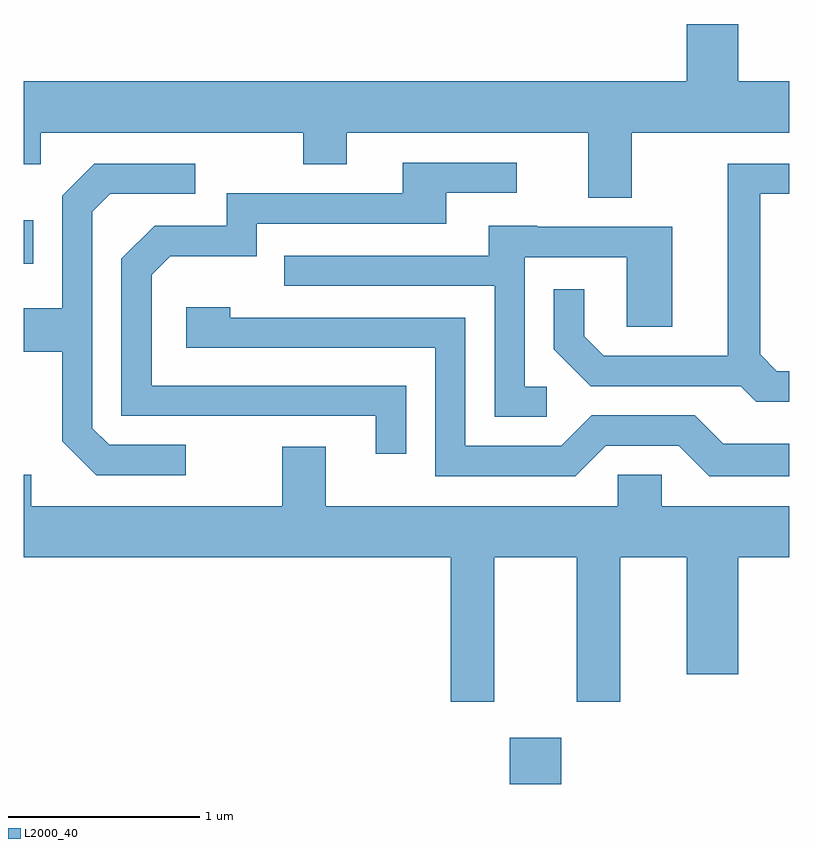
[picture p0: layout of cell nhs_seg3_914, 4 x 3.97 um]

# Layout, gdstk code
import gdstk
lib = gdstk.Library(unit=1e-6, precision=1e-09)
def R(c, l, rs):  # rectangles x0, y0, x1, y1
    for r in rs: c.add(gdstk.rectangle(r[:2], r[2:], *l))
def P(c, l, *ps):  # polygons
    for p in ps: c.add(gdstk.Polygon(p, *l))
L2000_40 = (2000, 40)

nhs_seg3_914 = lib.new_cell('nhs_seg3_914')
R(nhs_seg3_914, L2000_40, [(214.151,1175.892,214.419,1176.134), (211.611,1178.611,211.659,1178.839)])
P(nhs_seg3_914, L2000_40, [(214.789,1179.296),(215.611,1179.296),(215.611,1179.564),(215.344,1179.564),(215.344,1179.864),(215.076,1179.864),(215.076,1179.564),(211.611,1179.564),(211.611,1179.131),(211.699,1179.131),(211.699,1179.296),(213.071,1179.296),(213.071,1179.131),(213.299,1179.131),(213.299,1179.296),(214.561,1179.296),(214.561,1178.956),(214.789,1178.956)],
  [(213.609,1177.974),(212.279,1177.974),(212.279,1178.554),(212.377,1178.651),(212.829,1178.651),(212.829,1178.821),(213.819,1178.821),(213.819,1178.981),(214.188,1178.981),(214.188,1179.139),(213.591,1179.139),(213.591,1178.979),(212.671,1178.979),(212.671,1178.809),(212.294,1178.809),(212.121,1178.637),(212.121,1177.816),(213.451,1177.816),(213.451,1177.618),(213.609,1177.618)],
  [(212.458,1177.664),(212.057,1177.664),(211.969,1177.752),(211.969,1178.884),(212.062,1178.976),(212.508,1178.976),(212.508,1179.134),(211.979,1179.134),(211.811,1178.967),(211.811,1178.379),(211.611,1178.379),(211.611,1178.151),(211.811,1178.151),(211.811,1177.684),(211.989,1177.506),(212.458,1177.506)],
  [(215.611,1178.049),(215.547,1178.049),(215.459,1178.137),(215.459,1178.976),(215.611,1178.976),(215.611,1179.134),(215.291,1179.134),(215.291,1178.129),(214.642,1178.129),(214.539,1178.232),(214.539,1178.478),(214.381,1178.478),(214.381,1178.164),(214.574,1177.971),(215.359,1177.971),(215.439,1177.891),(215.611,1177.891)],
  [(214.343,1177.969),(214.229,1177.969),(214.229,1178.646),(214.761,1178.646),(214.761,1178.281),(214.999,1178.281),(214.999,1178.804),(214.295,1178.804),(214.295,1178.809),(214.041,1178.809),(214.041,1178.654),(212.973,1178.654),(212.973,1178.496),(214.071,1178.496),(214.071,1177.811),(214.343,1177.811)],
  [(214.652,1177.661),(215.034,1177.661),(215.194,1177.501),(215.611,1177.501),(215.611,1177.669),(215.267,1177.669),(215.117,1177.819),(214.579,1177.819),(214.419,1177.659),(213.919,1177.659),(213.919,1178.329),(212.689,1178.329),(212.689,1178.384),(212.461,1178.384),(212.461,1178.171),(213.761,1178.171),(213.761,1177.501),(214.492,1177.501)],
  [(214.069,1177.076),(214.501,1177.076),(214.501,1176.321),(214.729,1176.321),(214.729,1177.076),(215.076,1177.076),(215.076,1176.466),(215.344,1176.466),(215.344,1177.076),(215.611,1177.076),(215.611,1177.344),(214.944,1177.344),(214.944,1177.509),(214.716,1177.509),(214.716,1177.344),(213.189,1177.344),(213.189,1177.654),(212.961,1177.654),(212.961,1177.344),(211.649,1177.344),(211.649,1177.509),(211.611,1177.509),(211.611,1177.076),(213.841,1177.076),(213.841,1176.321),(214.069,1176.321)])

lib.write_gds('nhs_seg3_914.gds')
